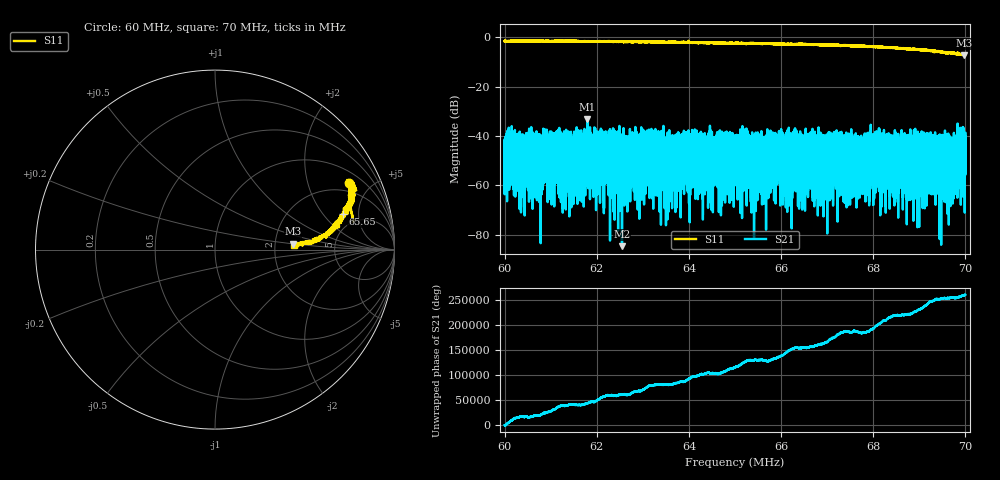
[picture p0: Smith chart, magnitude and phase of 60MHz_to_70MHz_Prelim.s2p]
# HZ S RI R 50
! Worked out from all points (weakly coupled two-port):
!   20200 points, 60 MHz to 70 MHz, reference 50 ohm
!   highest |S21| = -33.06 dB at 61.8 MHz (marker M1); lowest = -84.7 dB at 62.55 MHz (marker M2)
!   lowest |S11| = -7.2 dB at 69.97 MHz (marker M3), VSWR 2.55, Z = 126 + j10.4 ohm
!   |S11| at or under -10 dB: nowhere
!   S12 and S22 are empty: the file has one direction only
!   S11 on the Smith chart (normalised r, x): 60 MHz: 1.49, +3.69; 65.65 MHz: 3.71, +3.22; 70 MHz: 2.57, +0.24
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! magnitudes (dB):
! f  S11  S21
! 60 MHz  -1.6  -48.4
! 60.61 MHz  -1.4  -44.0
! 60.88 MHz  -1.6  -44.0
! 61.67 MHz  -1.7  -49.5
! 61.8 MHz  -1.6  -33.1
! 62.44 MHz  -1.7  -51.4
! 62.55 MHz  -1.7  -84.7
! 63 MHz  -1.8  -42.0
! 63.33 MHz  -1.8  -44.8
! 63.52 MHz  -2.0  -47.1
! 64.07 MHz  -2.1  -40.9
! 64.49 MHz  -2.1  -45.9
! 65 MHz  -2.3  -52.6
! 65.65 MHz  -2.6  -51.3
! 66.16 MHz  -2.9  -44.2
! 66.67 MHz  -2.9  -52.2
! 67.62 MHz  -3.4  -48.7
! 68.33 MHz  -4.1  -46.5
! 69.75 MHz  -6.5  -52.9
! 69.92 MHz  -7.0  -42.2
! 69.97 MHz  -7.2  -42.7
! 70 MHz  -7.0  -55.5
